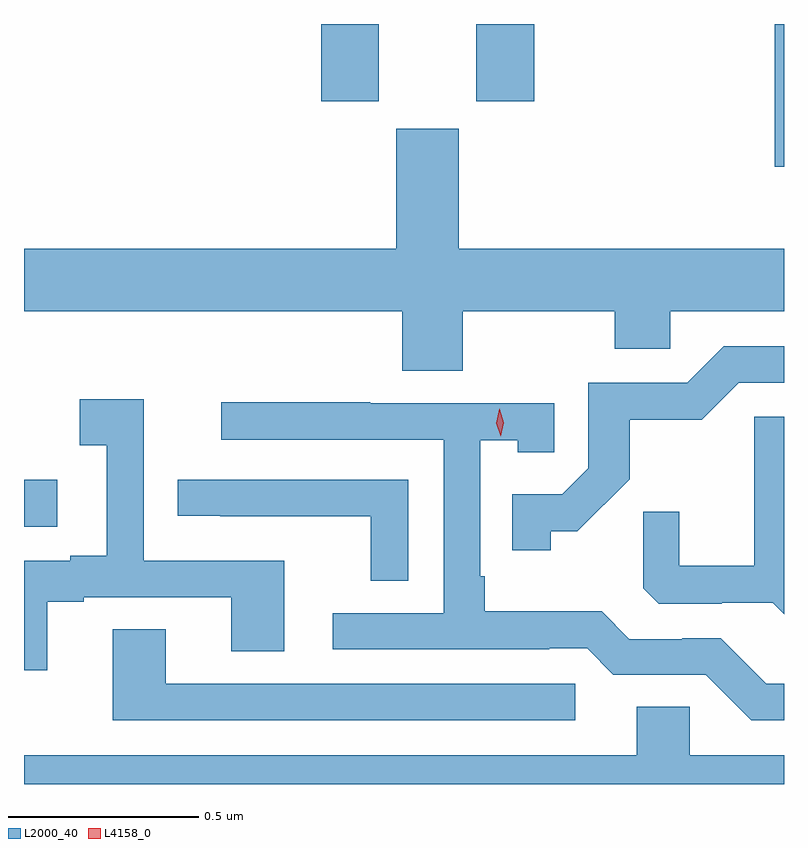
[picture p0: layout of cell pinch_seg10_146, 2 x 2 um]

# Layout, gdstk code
import gdstk
lib = gdstk.Library(unit=1e-6, precision=1e-09)
def R(c, l, rs):  # rectangles x0, y0, x1, y1
    for r in rs: c.add(gdstk.rectangle(r[:2], r[2:], *l))
def P(c, l, *ps):  # polygons
    for p in ps: c.add(gdstk.Polygon(p, *l))
L2000_40 = (2000, 40)
L4158_0 = (4158, 0)

pinch_seg10_146 = lib.new_cell('pinch_seg10_146')
R(pinch_seg10_146, L2000_40, [(689.28,1279.769,689.368,1279.893), (691.255,1280.717,691.28,1281.092), (690.062,1280.889,690.214,1281.092), (690.47,1280.889,690.623,1281.092)])
P(pinch_seg10_146, L2000_40, [(690.435,1280.336),(690.835,1280.336),(690.835,1280.238),(690.981,1280.238),(690.981,1280.336),(691.28,1280.336),(691.28,1280.5),(690.424,1280.5),(690.424,1280.817),(690.26,1280.817),(690.26,1280.5),(689.28,1280.5),(689.28,1280.336),(690.275,1280.336),(690.275,1280.179),(690.435,1280.179)],
  [(690.666,1279.757),(690.736,1279.757),(690.874,1279.894),(690.874,1280.05),(691.063,1280.05),(691.161,1280.148),(691.28,1280.148),(691.28,1280.244),(691.122,1280.244),(691.026,1280.148),(690.765,1280.148),(690.765,1279.923),(690.696,1279.854),(690.565,1279.854),(690.565,1279.707),(690.666,1279.707)],
  [(689.341,1279.572),(689.437,1279.572),(689.437,1279.584),(689.825,1279.584),(689.825,1279.441),(689.965,1279.441),(689.965,1279.68),(689.595,1279.68),(689.595,1280.104),(689.427,1280.104),(689.427,1279.984),(689.498,1279.984),(689.498,1279.693),(689.402,1279.693),(689.402,1279.68),(689.28,1279.68),(689.28,1279.392),(689.341,1279.392)],
  [(691.28,1279.356),(691.233,1279.356),(691.113,1279.476),(691.012,1279.476),(691.012,1279.473),(690.873,1279.473),(690.8,1279.546),(690.493,1279.546),(690.493,1279.639),(690.48,1279.639),(690.48,1279.997),(690.579,1279.997),(690.579,1279.965),(690.675,1279.965),(690.675,1280.094),(690.191,1280.094),(690.191,1280.097),(689.799,1280.097),(689.799,1279.998),(690.384,1279.998),(690.384,1279.542),(690.093,1279.542),(690.093,1279.446),(690.662,1279.446),(690.662,1279.449),(690.762,1279.449),(690.831,1279.38),(691.074,1279.38),(691.194,1279.26),(691.28,1279.26)],
  [(691.28,1280.058),(691.202,1280.058),(691.202,1279.666),(691.004,1279.666),(691.004,1279.809),(690.91,1279.809),(690.91,1279.607),(690.951,1279.566),(691.116,1279.566),(691.116,1279.569),(691.25,1279.569),(691.28,1279.539)],
  [(690.291,1279.893),(689.685,1279.893),(689.685,1279.798),(689.797,1279.798),(689.797,1279.797),(690.193,1279.797),(690.193,1279.627),(690.291,1279.627)],
  [(690.73,1279.356),(689.653,1279.356),(689.653,1279.499),(689.513,1279.499),(689.513,1279.26),(690.73,1279.26)],
  [(691.28,1279.168),(691.032,1279.168),(691.032,1279.295),(690.893,1279.295),(690.893,1279.168),(689.28,1279.168),(689.28,1279.092),(691.28,1279.092)])
P(pinch_seg10_146, L4158_0, [(690.534,1280.007),(690.534,1280.007),(690.523,1280.042),(690.531,1280.078),(690.532,1280.079),(690.532,1280.078),(690.543,1280.043),(690.534,1280.007)])

lib.write_gds('pinch_seg10_146.gds')
